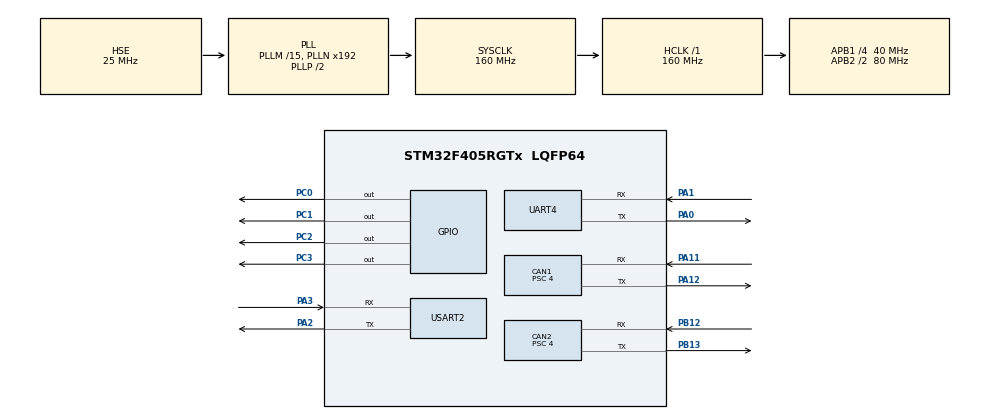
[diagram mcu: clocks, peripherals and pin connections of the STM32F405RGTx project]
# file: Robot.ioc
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CAN1.BS1=CAN_BS1_4TQ
CAN1.BS2=CAN_BS2_5TQ
CAN1.CalculateBaudRate=1000000
CAN1.CalculateTimeBit=1000
CAN1.CalculateTimeQuantum=100.0
CAN1.Prescaler=4
CAN2.BS1=CAN_BS1_4TQ
CAN2.BS2=CAN_BS2_5TQ
CAN2.CalculateBaudRate=1000000
CAN2.CalculateTimeBit=1000
CAN2.CalculateTimeQuantum=100.0
CAN2.Prescaler=4
Dma.Request0=UART4_RX
Dma.Request1=UART4_TX
Dma.Request2=USART2_RX
Dma.Request3=USART2_TX
Dma.UART4_RX.0.Direction=DMA_PERIPH_TO_MEMORY
Dma.UART4_RX.0.FIFOMode=DMA_FIFOMODE_DISABLE
Dma.UART4_RX.0.Instance=DMA1_Stream2
Dma.UART4_RX.0.MemDataAlignment=DMA_MDATAALIGN_BYTE
Dma.UART4_RX.0.MemInc=DMA_MINC_ENABLE
Dma.UART4_RX.0.Mode=DMA_CIRCULAR
Dma.UART4_RX.0.PeriphDataAlignment=DMA_PDATAALIGN_BYTE
Dma.UART4_RX.0.PeriphInc=DMA_PINC_DISABLE
Dma.UART4_RX.0.Priority=DMA_PRIORITY_LOW
Dma.UART4_TX.1.Direction=DMA_MEMORY_TO_PERIPH
Dma.UART4_TX.1.FIFOMode=DMA_FIFOMODE_DISABLE
Dma.UART4_TX.1.Instance=DMA1_Stream4
Dma.UART4_TX.1.MemDataAlignment=DMA_MDATAALIGN_BYTE
Dma.UART4_TX.1.MemInc=DMA_MINC_ENABLE
Dma.UART4_TX.1.Mode=DMA_NORMAL
Dma.UART4_TX.1.PeriphDataAlignment=DMA_PDATAALIGN_BYTE
Dma.UART4_TX.1.PeriphInc=DMA_PINC_DISABLE
Dma.UART4_TX.1.Priority=DMA_PRIORITY_LOW
Dma.USART2_RX.2.Direction=DMA_PERIPH_TO_MEMORY
Dma.USART2_RX.2.FIFOMode=DMA_FIFOMODE_DISABLE
Dma.USART2_RX.2.Instance=DMA1_Stream5
Dma.USART2_RX.2.MemDataAlignment=DMA_MDATAALIGN_BYTE
Dma.USART2_RX.2.MemInc=DMA_MINC_ENABLE
Dma.USART2_RX.2.Mode=DMA_CIRCULAR
Dma.USART2_RX.2.PeriphDataAlignment=DMA_PDATAALIGN_BYTE
Dma.USART2_RX.2.PeriphInc=DMA_PINC_DISABLE
Dma.USART2_RX.2.Priority=DMA_PRIORITY_LOW
Dma.USART2_TX.3.Direction=DMA_MEMORY_TO_PERIPH
Dma.USART2_TX.3.FIFOMode=DMA_FIFOMODE_DISABLE
Dma.USART2_TX.3.Instance=DMA1_Stream6
Dma.USART2_TX.3.MemDataAlignment=DMA_MDATAALIGN_BYTE
Dma.USART2_TX.3.MemInc=DMA_MINC_ENABLE
Dma.USART2_TX.3.Mode=DMA_NORMAL
Dma.USART2_TX.3.PeriphDataAlignment=DMA_PDATAALIGN_BYTE
Dma.USART2_TX.3.PeriphInc=DMA_PINC_DISABLE
Dma.USART2_TX.3.Priority=DMA_PRIORITY_LOW
Mcu.Family=STM32F4
Mcu.Name=STM32F405RGTx
Mcu.Package=LQFP64
NVIC.CAN1_RX1_IRQn=true\:0\:0\:false\:false\:true\:true\:true\:true
NVIC.CAN1_SCE_IRQn=true\:0\:0\:true\:false\:true\:true\:true\:true
NVIC.CAN2_RX0_IRQn=true\:0\:0\:false\:false\:true\:true\:true\:true
NVIC.CAN2_SCE_IRQn=true\:0\:0\:false\:false\:true\:true\:true\:true
NVIC.DMA1_Stream2_IRQn=true\:1\:0\:true\:false\:true\:false\:true\:true
NVIC.DMA1_Stream4_IRQn=true\:1\:0\:true\:false\:true\:false\:true\:true
NVIC.DMA1_Stream5_IRQn=true\:1\:0\:true\:false\:true\:false\:true\:true
NVIC.DMA1_Stream6_IRQn=true\:1\:0\:true\:false\:true\:false\:true\:true
NVIC.PriorityGroup=NVIC_PRIORITYGROUP_4
NVIC.UART4_IRQn=true\:1\:0\:true\:false\:true\:true\:true\:true
NVIC.USART2_IRQn=true\:1\:0\:true\:false\:true\:true\:true\:true
PA0-WKUP.Mode=Asynchronous
PA0-WKUP.Signal=UART4_TX
PA1.Mode=Asynchronous
PA1.Signal=UART4_RX
PA11.Mode=CAN_Activate
PA11.Signal=CAN1_RX
PA12.Mode=CAN_Activate
PA12.Signal=CAN1_TX
PA13.Mode=Serial_Wire
PA13.Signal=SYS_JTMS-SWDIO
PA14.Mode=Serial_Wire
PA14.Signal=SYS_JTCK-SWCLK
PA2.Mode=Asynchronous
PA2.Signal=USART2_TX
PA3.Mode=Asynchronous
PA3.Signal=USART2_RX
PB12.Mode=CAN_Activate
PB12.Signal=CAN2_RX
PB13.Mode=CAN_Activate
PB13.Signal=CAN2_TX
PC0.Signal=GPIO_Output
PC1.Signal=GPIO_Output
PC14-OSC32_IN.Mode=LSE-External-Oscillator
PC14-OSC32_IN.Signal=RCC_OSC32_IN
PC15-OSC32_OUT.Mode=LSE-External-Oscillator
PC15-OSC32_OUT.Signal=RCC_OSC32_OUT
PC2.Signal=GPIO_Output
PC3.Signal=GPIO_Output
PH0-OSC_IN.Mode=HSE-External-Oscillator
PH0-OSC_IN.Signal=RCC_OSC_IN
PH1-OSC_OUT.Mode=HSE-External-Oscillator
PH1-OSC_OUT.Signal=RCC_OSC_OUT
ProjectManager.HeapSize=0x200
ProjectManager.StackSize=0x400
ProjectManager.TargetToolchain=MDK-ARM V5.32
RCC.48MHZClocksFreq_Value=80000000
RCC.AHBFreq_Value=160000000
RCC.APB1CLKDivider=RCC_HCLK_DIV4
RCC.APB1Freq_Value=40000000
RCC.APB1TimFreq_Value=80000000
RCC.APB2CLKDivider=RCC_HCLK_DIV2
RCC.APB2Freq_Value=80000000
RCC.APB2TimFreq_Value=160000000
RCC.CortexFreq_Value=160000000
RCC.HCLKFreq_Value=160000000
RCC.HSE_VALUE=25000000
RCC.HSI_VALUE=16000000
RCC.PLLM=15
RCC.PLLSourceVirtual=RCC_PLLSOURCE_HSE
RCC.SYSCLKFreq_VALUE=160000000
RCC.SYSCLKSource=RCC_SYSCLKSOURCE_PLLCLK
RCC.VCOOutputFreq_Value=320000000
UART4.VirtualMode=Asynchronous
USART2.VirtualMode=VM_ASYNC
board=custom

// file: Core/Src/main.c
/* USER CODE BEGIN Header */
/**
  ******************************************************************************
  * @file           : main.c
  * @brief          : Main program body
  ******************************************************************************
  * @attention
  *
  * Copyright (c) 2023 STMicroelectronics.
  * All rights reserved.
  *
  * This software is licensed under terms that can be found in the LICENSE file
  * in the root directory of this software component.
  * If no LICENSE file comes with this software, it is provided AS-IS.
  *
  ******************************************************************************
  */
/* USER CODE END Header */
#include "main.h"
#include "can.h"
#include "dma.h"
#include "usart.h"
#include "gpio.h"

/* USER CODE BEGIN Includes */
#include "RM3508.h"
#include "Base.h"
#define BUFFERSIZE 255           //定义缓冲区长度
uint8_t ReceiveBuff[BUFFERSIZE]; //缓冲区
uint8_t ReceiveBuff_2[BUFFERSIZE]; //缓冲区
uint8_t Rx_len;//收到的数据长度
uint8_t Rx_len_2;//收到的数据长度
extern DMA_HandleTypeDef hdma_uart4_rx;
extern DMA_HandleTypeDef hdma_usart2_rx;
int Rocker_Vx;
int Rocker_Vy;
int flag_v;
int Kv=1;
int Rotate_Vx;
int Rotate_Vy;
int Angle;
uint8_t VisionData[10];
float angle_Vision, distance_Vision;
int flag_circle=0;
/* USER CODE END Includes */

void SystemClock_Config(void);

int main(void)
{

  /* MCU Configuration--------------------------------------------------------*/

  /* Reset of all peripherals, Initializes the Flash interface and the Systick. */
  HAL_Init();

  /* Configure the system clock */
  SystemClock_Config();

  /* Initialize all configured peripherals */
  MX_GPIO_Init();
  MX_DMA_Init();
  MX_UART4_Init();
  MX_CAN1_Init();
  MX_CAN2_Init();
  MX_USART2_UART_Init();
  /* USER CODE BEGIN 2 */
CAN_Init(&hcan2);
CAN_Init(&hcan1);
__HAL_UART_ENABLE_IT(&huart4, UART_IT_IDLE);//使能中断

	HAL_UART_Receive_DMA(&huart4,ReceiveBuff,BUFFERSIZE);//开启dma
	__HAL_UART_ENABLE_IT(&huart2, UART_IT_IDLE);//使能中断

	HAL_UART_Receive_DMA(&huart2,ReceiveBuff_2,BUFFERSIZE);//开启dma
  /* USER CODE END 2 */

  /* Infinite loop */
  /* USER CODE BEGIN WHILE */
//	HAL_GPIO_WritePin(GPIOC,GPIO_PIN_0,SET);
//	HAL_GPIO_WritePin(GPIOC,GPIO_PIN_1,SET);
//	HAL_GPIO_WritePin(GPIOC,GPIO_PIN_2,RESET);
//	HAL_GPIO_WritePin(GPIOC,GPIO_PIN_3,RESET);
		printf("begin");
  while (1)
  {

    /* USER CODE END WHILE */

    /* USER CODE BEGIN 3 */
//			HAL_GPIO_TogglePin(GPIOC,GPIO_PIN_0);
//		HAL_GPIO_TogglePin(GPIOC,GPIO_PIN_1);
//		HAL_GPIO_TogglePin(GPIOC,GPIO_PIN_2);
//		HAL_GPIO_TogglePin(GPIOC,GPIO_PIN_3);
//		HAL_Delay(1000);
	HandleStringSpeed(ReceiveBuff, Rx_len);
		Speed_Robot_Coordinate(Rocker_Vx,Rocker_Vy);
  }
  /* USER CODE END 3 */
}

void SystemClock_Config(void)
{
  RCC_OscInitTypeDef RCC_OscInitStruct = {0};
  RCC_ClkInitTypeDef RCC_ClkInitStruct = {0};

  /** Configure the main internal regulator output voltage
  */
  __HAL_RCC_PWR_CLK_ENABLE();
  __HAL_PWR_VOLTAGESCALING_CONFIG(PWR_REGULATOR_VOLTAGE_SCALE1);

  /** Initializes the RCC Oscillators according to the specified parameters
  * in the RCC_OscInitTypeDef structure.
  */
  RCC_OscInitStruct.OscillatorType = RCC_OSCILLATORTYPE_HSE;
  RCC_OscInitStruct.HSEState = RCC_HSE_ON;
  RCC_OscInitStruct.PLL.PLLState = RCC_PLL_ON;
  RCC_OscInitStruct.PLL.PLLSource = RCC_PLLSOURCE_HSE;
  RCC_OscInitStruct.PLL.PLLM = 15;
  RCC_OscInitStruct.PLL.PLLN = 192;
  RCC_OscInitStruct.PLL.PLLP = RCC_PLLP_DIV2;
  RCC_OscInitStruct.PLL.PLLQ = 4;
  if (HAL_RCC_OscConfig(&RCC_OscInitStruct) != HAL_OK)
  {
    Error_Handler();
  }

  /** Initializes the CPU, AHB and APB buses clocks
  */
  RCC_ClkInitStruct.ClockType = RCC_CLOCKTYPE_HCLK|RCC_CLOCKTYPE_SYSCLK
                              |RCC_CLOCKTYPE_PCLK1|RCC_CLOCKTYPE_PCLK2;
  RCC_ClkInitStruct.SYSCLKSource = RCC_SYSCLKSOURCE_PLLCLK;
  RCC_ClkInitStruct.AHBCLKDivider = RCC_SYSCLK_DIV1;
  RCC_ClkInitStruct.APB1CLKDivider = RCC_HCLK_DIV4;
  RCC_ClkInitStruct.APB2CLKDivider = RCC_HCLK_DIV2;

  if (HAL_RCC_ClockConfig(&RCC_ClkInitStruct, FLASH_LATENCY_5) != HAL_OK)
  {
    Error_Handler();
  }
}

void Error_Handler(void)
{
  __disable_irq();
  while (1)
  {
  }
}
